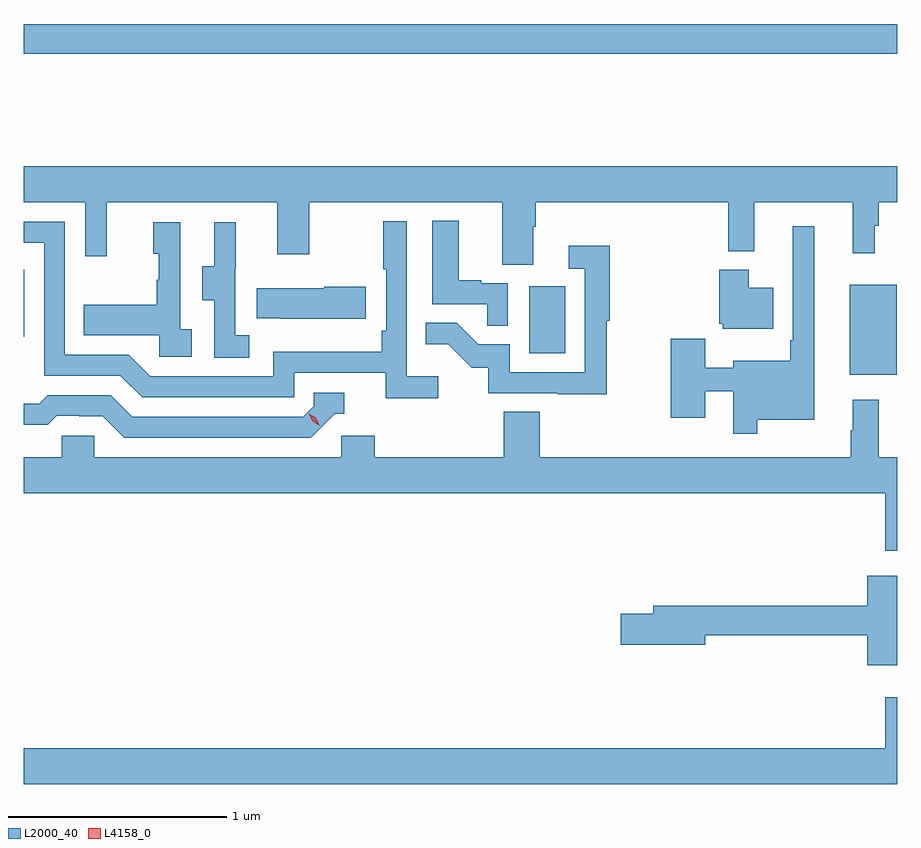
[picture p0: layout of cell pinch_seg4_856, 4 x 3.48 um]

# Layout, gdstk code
import gdstk
lib = gdstk.Library(unit=1e-6, precision=1e-09)
def R(c, l, rs):  # rectangles x0, y0, x1, y1
    for r in rs: c.add(gdstk.rectangle(r[:2], r[2:], *l))
def P(c, l, *ps):  # polygons
    for p in ps: c.add(gdstk.Polygon(p, *l))
L2000_40 = (2000, 40)
L4158_0 = (4158, 0)

pinch_seg4_856 = lib.new_cell('pinch_seg4_856')
R(pinch_seg4_856, L2000_40, [(843.929,794.699,844.144,795.109), (842.462,794.796,842.626,795.103), (840.147,794.871,840.15,795.18), (840.147,796.168,844.147,796.304)])
P(pinch_seg4_856, L2000_40, [(842.479,795.376),(842.492,795.376),(842.492,795.488),(843.373,795.488),(843.373,795.263),(843.491,795.263),(843.491,795.488),(843.944,795.488),(843.944,795.255),(844.043,795.255),(844.043,795.38),(844.061,795.38),(844.061,795.488),(844.147,795.488),(844.147,795.652),(840.147,795.652),(840.147,795.488),(840.429,795.488),(840.429,795.24),(840.527,795.24),(840.527,795.488),(841.307,795.488),(841.307,795.249),(841.455,795.249),(841.455,795.488),(842.339,795.488),(842.339,795.202),(842.479,795.202)],
  [(842.364,795.117),(842.243,795.117),(842.243,795.13),(842.14,795.13),(842.14,795.403),(842.018,795.403),(842.018,795.021),(842.269,795.021),(842.269,794.923),(842.364,794.923)],
  [(842.044,794.692),(841.902,794.692),(841.902,795.4),(841.794,795.4),(841.794,795.181),(841.806,795.181),(841.806,794.899),(841.786,794.899),(841.786,794.803),(841.29,794.803),(841.29,794.691),(840.726,794.691),(840.627,794.79),(840.336,794.79),(840.336,795.399),(840.147,795.399),(840.147,795.303),(840.24,795.303),(840.24,794.694),(840.59,794.694),(840.689,794.595),(841.386,794.595),(841.386,794.706),(841.805,794.706),(841.805,794.59),(842.044,794.59)],
  [(841.18,794.879),(841.116,794.879),(841.116,795.183),(841.118,795.183),(841.118,795.397),(841.019,795.397),(841.019,795.195),(840.965,795.195),(840.965,795.04),(841.02,795.04),(841.02,794.776),(841.18,794.776)],
  [(840.916,794.906),(840.864,794.906),(840.864,795.397),(840.74,795.397),(840.74,795.252),(840.766,795.252),(840.766,795.134),(840.756,795.134),(840.756,795.019),(840.421,795.019),(840.421,794.879),(840.768,794.879),(840.768,794.781),(840.916,794.781)],
  [(843.505,794.492),(843.766,794.492),(843.766,795.379),(843.669,795.379),(843.669,794.857),(843.657,794.857),(843.657,794.761),(843.395,794.761),(843.395,794.731),(843.268,794.731),(843.268,794.863),(843.11,794.863),(843.11,794.502),(843.268,794.502),(843.268,794.622),(843.396,794.622),(843.396,794.427),(843.505,794.427)],
  [(842.816,794.946),(842.831,794.946),(842.831,795.289),(842.643,795.289),(842.643,795.183),(842.715,795.183),(842.715,794.709),(842.373,794.709),(842.373,794.838),(842.228,794.838),(842.13,794.936),(841.987,794.936),(841.987,794.837),(842.091,794.837),(842.198,794.73),(842.275,794.73),(842.275,794.613),(842.593,794.613),(842.593,794.608),(842.816,794.608)],
  [(843.58,795.097),(843.466,795.097),(843.466,795.178),(843.332,795.178),(843.332,794.931),(843.348,794.931),(843.348,794.909),(843.58,794.909)],
  [(841.714,795.102),(841.523,795.102),(841.523,795.094),(841.213,795.094),(841.213,794.957),(841.321,794.957),(841.321,794.954),(841.714,794.954)],
  [(841.572,794.52),(841.615,794.52),(841.615,794.616),(841.476,794.616),(841.476,794.553),(841.428,794.505),(840.645,794.505),(840.546,794.604),(840.257,794.604),(840.218,794.565),(840.147,794.565),(840.147,794.469),(840.257,794.469),(840.299,794.511),(840.402,794.511),(840.402,794.508),(840.509,794.508),(840.608,794.409),(841.461,794.409)],
  [(844.147,794.32),(844.061,794.32),(844.061,794.584),(843.944,794.584),(843.944,794.444),(843.933,794.444),(843.933,794.32),(842.51,794.32),(842.51,794.528),(842.345,794.528),(842.345,794.32),(841.754,794.32),(841.754,794.418),(841.602,794.418),(841.602,794.32),(840.471,794.32),(840.471,794.418),(840.321,794.418),(840.321,794.32),(840.147,794.32),(840.147,794.156),(844.093,794.156),(844.093,793.893),(844.147,793.893)],
  [(844.147,793.777),(844.01,793.777),(844.01,793.64),(843.029,793.64),(843.029,793.604),(842.88,793.604),(842.88,793.462),(843.268,793.462),(843.268,793.504),(844.01,793.504),(844.01,793.367),(844.147,793.367)],
  [(844.147,793.222),(844.093,793.222),(844.093,792.988),(840.147,792.988),(840.147,792.824),(844.147,792.824)])
P(pinch_seg4_856, L4158_0, [(841.499,794.467),(841.469,794.487),(841.453,794.519),(841.453,794.52),(841.453,794.52),(841.484,794.5),(841.5,794.468),(841.5,794.467)])

lib.write_gds('pinch_seg4_856.gds')
